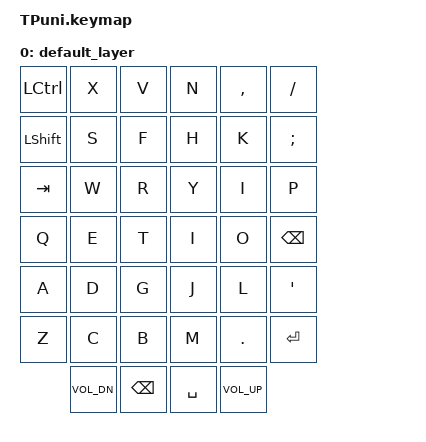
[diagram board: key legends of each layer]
#include <behaviors.dtsi>
#include <dt-bindings/zmk/keys.h>
#include <dt-bindings/zmk/bt.h>
#include <dt-bindings/zmk/outputs.h>
#include <dt-bindings/zmk/mouse.h>
#include <dt-bindings/zmk/mouse_settings.h>
#include <behaviors/mouse_keys.dtsi>
#include <behaviors/mouse_setting.dtsi>
    
/ {
    keymap {
        compatible = "zmk,keymap";
      
    // +------+------+------+   +------+------+------+
    // | tab  |   w  |   r  |   |   y  |   i  |   p  |       
    // +------+------+------+   +------+------+------+
    // | sft  |   s  |   f  |   |   h  |   k  |   ;  |                   
    // +------+------+------+   +------+------+------+
    // | ctl  |   x  |   v  |   |   n  |   ,  |   /  |                
    // +------+------+------+   +------+------+------+ 
                                
    // +------+------+------+   +------+------+------+
    // |   z  |   c  |   b  |   |   m  |   .  |  ent |                   
    // +------+------+------+   +------+------+------+
    // |   a  |   d  |   g  |   |   j  |   l  |  quo |         
    // +------+------+------+   +------+------+------+
    // |   q  |   e  |   t  |   |   u  |   o  |  bsp |                   
    // +------+------+------+   +------+------+------+
	                            
    // +------+------+------+   +------+------+------+ 
    // |      | vold |  bsp |   |  spc | volu |      |                    
    // +------+------+------+   +------+------+------+

 default_layer {
    bindings = <   
        &kp LCTRL       &kp X            &kp V            &kp N            &kp COMMA        &kp SLASH            
        &kp LSHIFT      &kp S            &kp F            &kp H            &kp K            &kp SEMI  
        &kp TAB         &kp W            &kp R            &kp Y            &kp I            &kp P

        &kp Q           &kp E            &kp T            &kp I            &kp O            &kp BSPC            
        &kp A           &kp D            &kp G            &kp J            &kp L            &kp APOS  
        &kp Z           &kp C            &kp B            &kp M            &kp DOT          &kp ENTER
		
                        &kp C_VOL_DN     &kp BSPC        &kp SPACE         &kp C_VOL_UP         
               >;
    };

    };
    
};

